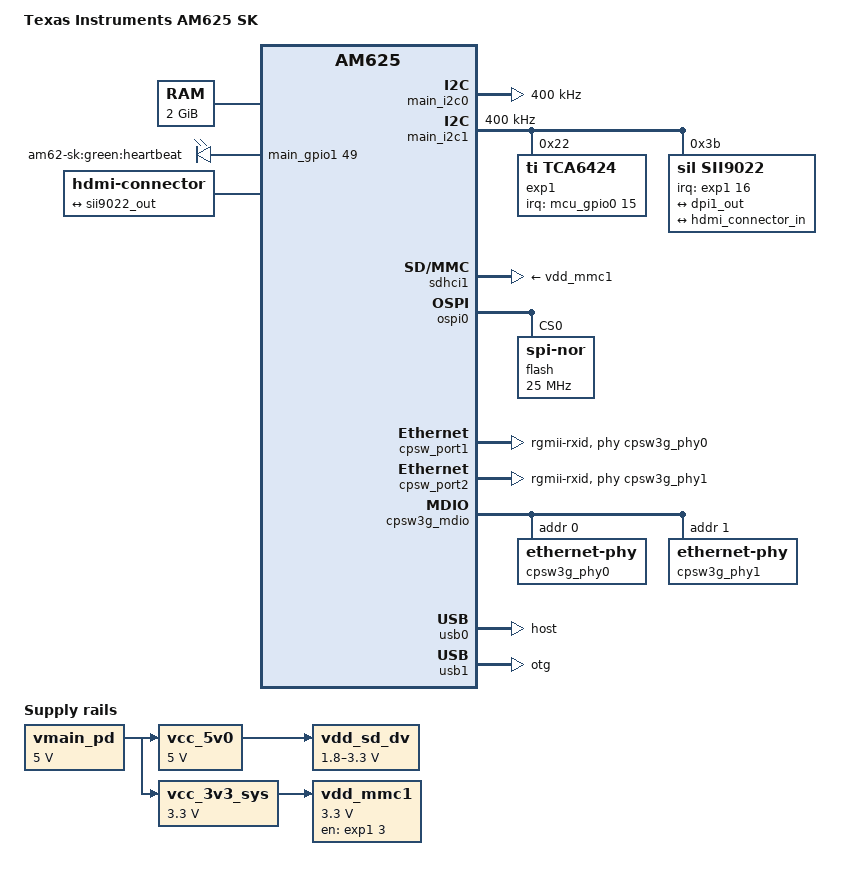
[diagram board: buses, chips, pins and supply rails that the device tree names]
// SPDX-License-Identifier: GPL-2.0
/*
 * AM625 SK dts file
 * Copyright (C) 2021-2022 Texas Instruments Incorporated - https://www.ti.com/
 */

/dts-v1/;

#include <dt-bindings/leds/common.h>
#include <dt-bindings/gpio/gpio.h>
#include <dt-bindings/net/ti-dp83867.h>
#include "k3-am625.dtsi"

/ {
	compatible =  "ti,am625-sk", "ti,am625";
	model = "Texas Instruments AM625 SK";

	chosen {
		stdout-path = "serial2:115200n8";
		bootargs = "console=ttyS2,115200n8 earlycon=ns16550a,mmio32,0x02800000";
	};

	memory@80000000 {
		device_type = "memory";
		/* 2G RAM */
		reg = <0x00000000 0x80000000 0x00000000 0x80000000>;

	};

	reserved-memory {
		#address-cells = <2>;
		#size-cells = <2>;
		ranges;

		secure_tfa_ddr: tfa@9e780000 {
			reg = <0x00 0x9e780000 0x00 0x80000>;
			alignment = <0x1000>;
			no-map;
		};

		secure_ddr: optee@9e800000 {
			reg = <0x00 0x9e800000 0x00 0x01800000>; /* for OP-TEE */
			alignment = <0x1000>;
			no-map;
		};

		main_r5fss0_core0_dma_memory_region: r5f-dma-memory@a0000000 {
			compatible = "shared-dma-pool";
			reg = <0x00 0xa0000000 0x00 0x200000>;
			no-map;
		};

		lpm_ctx_ddr: lpm-memory@a1000000 {
			reg = <0x00 0xa1000000 0x00 0x40000>;
			alignment = <0x1000>;
			no-map;
		};

		mcu_m4fss_dma_memory_region: m4f-dma-memory@a4000000 {
			compatible = "shared-dma-pool";
			reg = <0x00 0xa4000000 0x00 0x100000>;
			no-map;
		};

		mcu_m4fss_memory_region: m4f-memory@a4100000 {
			compatible = "shared-dma-pool";
			reg = <0x00 0xa4100000 0x00 0xf00000>;
			no-map;
		};
	};

	vmain_pd: fixed-regulator-vmain-pd {
		/* TPS65988 PD CONTROLLER OUTPUT */
		compatible = "regulator-fixed";
		regulator-name = "vmain_pd";
		regulator-min-microvolt = <5000000>;
		regulator-max-microvolt = <5000000>;
		regulator-always-on;
		regulator-boot-on;
	};

	vcc_5v0: fixedregulator-vcc5v0 {
		/* Output of LM34936 */
		compatible = "regulator-fixed";
		regulator-name = "vcc_5v0";
		regulator-min-microvolt = <5000000>;
		regulator-max-microvolt = <5000000>;
		vin-supply = <&vmain_pd>;
		regulator-always-on;
		regulator-boot-on;
	};


	vcc_3v3_sys: fixedregulator-vcc-3v3-sys {
		/* output of LM61460-Q1 */
		compatible = "regulator-fixed";
		regulator-name = "vcc_3v3_sys";
		regulator-min-microvolt = <3300000>;
		regulator-max-microvolt = <3300000>;
		vin-supply = <&vmain_pd>;
		regulator-always-on;
		regulator-boot-on;
	};

	vdd_mmc1: fixed-regulator-sd {
		/* TPS22918DBVR */
		compatible = "regulator-fixed";
		regulator-name = "vdd_mmc1";
		regulator-min-microvolt = <3300000>;
		regulator-max-microvolt = <3300000>;
		regulator-boot-on;
		enable-active-high;
		vin-supply = <&vcc_3v3_sys>;
		gpio = <&exp1 3 GPIO_ACTIVE_HIGH>;
	};

	vdd_sd_dv: gpio-regulator-TLV71033 {
		/* Output of TLV71033 */
		compatible = "regulator-gpio";
		regulator-name = "tlv71033";
		pinctrl-names = "default";
		pinctrl-0 = <&vdd_sd_dv_pins_default>;
		regulator-min-microvolt = <1800000>;
		regulator-max-microvolt = <3300000>;
		regulator-boot-on;
		vin-supply = <&vcc_5v0>;
		gpios = <&main_gpio0 31 GPIO_ACTIVE_HIGH>;
		states = <1800000 0x0>,
			 <3300000 0x1>;
	};

	leds {
		compatible = "gpio-leds";
		pinctrl-names = "default";
		pinctrl-0 = <&usr_led_pins_default>;

		led-0 {
			label = "am62-sk:green:heartbeat";
			gpios = <&main_gpio1 49 GPIO_ACTIVE_HIGH>;
			linux,default-trigger = "heartbeat";
			function = LED_FUNCTION_HEARTBEAT;
			default-state = "off";
		};
	};

	hdmi_mstrclk: hdmi_mstrclk {
		compatible = "fixed-clock";
		#clock-cells = <0>;
		clock-frequency = <12288000>;
	};

	hdmi: connector {
		compatible = "hdmi-connector";
		label = "hdmi";
		type = "a";
		port {
			hdmi_connector_in: endpoint {
				remote-endpoint = <&sii9022_out>;
			};
		};
	};
};

&main_pmx0 {
	main_uart0_pins_default: main-uart0-pins-default {
		pinctrl-single,pins = <
			AM62X_IOPAD(0x1d0, PIN_INPUT, 0) /* (A15) UART0_CTSn */
			AM62X_IOPAD(0x1d4, PIN_OUTPUT, 0) /* (B15) UART0_RTSn */
			AM62X_IOPAD(0x1c8, PIN_INPUT, 0) /* (D14) UART0_RXD */
			AM62X_IOPAD(0x1cc, PIN_OUTPUT, 0) /* (E14) UART0_TXD */
		>;
	};

	main_uart2_pins_default: main-uart2-pins-default {
		pinctrl-single,pins = <
			AM62X_IOPAD(0x074, PIN_INPUT, 8) /* (U25) GPMC0_AD14.UART2_CTSn */
			AM62X_IOPAD(0x078, PIN_OUTPUT, 8) /* (U24) GPMC0_AD15.UART2_RTSn */
			AM62X_IOPAD(0x05c, PIN_INPUT, 2) /* (R24) GPMC0_AD8.UART2_RXD */
			AM62X_IOPAD(0x060, PIN_OUTPUT, 2) /* (R25) GPMC0_AD9.UART2_TXD */
		>;
	};

	main_uart1_pins_default: main-uart1-pins-default {
		pinctrl-single,pins = <
			AM62X_IOPAD(0x194, PIN_INPUT, 2) /* (B19) MCASP0_AXR3.UART1_CTSn */
			AM62X_IOPAD(0x198, PIN_OUTPUT, 2) /* (A19) MCASP0_AXR2.UART1_RTSn */
			AM62X_IOPAD(0x1ac, PIN_INPUT, 2) /* (E19) MCASP0_AFSR.UART1_RXD */
			AM62X_IOPAD(0x1b0, PIN_OUTPUT, 2) /* (A20) MCASP0_ACLKR.UART1_TXD */
		>;
	};

	main_i2c0_pins_default: main-i2c0-pins-default {
		pinctrl-single,pins = <
			AM62X_IOPAD(0x1e0, PIN_INPUT_PULLUP, 0) /* (B16) I2C0_SCL */
			AM62X_IOPAD(0x1e4, PIN_INPUT_PULLUP, 0) /* (A16) I2C0_SDA */
		>;
	};

	main_i2c1_pins_default: main-i2c1-pins-default {
		pinctrl-single,pins = <
			AM62X_IOPAD(0x1e8, PIN_INPUT_PULLUP, 0) /* (B17) I2C1_SCL */
			AM62X_IOPAD(0x1ec, PIN_INPUT_PULLUP, 0) /* (A17) I2C1_SDA */
		>;
	};

	main_i2c2_pins_default: main-i2c2-pins-default {
		pinctrl-single,pins = <
			AM62X_IOPAD(0x0b0, PIN_INPUT_PULLUP, 1) /* (K22) GPMC0_CSn2.I2C2_SCL */
			AM62X_IOPAD(0x0b4, PIN_INPUT_PULLUP, 1) /* (K24) GPMC0_CSn3.I2C2_SDA */
		>;
	};

	main_mmc0_pins_default: main-mmc0-pins-default {
		pinctrl-single,pins = <
			AM62X_IOPAD(0x220, PIN_INPUT_PULLUP, 0) /* (Y3) MMC0_CMD */
			AM62X_IOPAD(0x218, PIN_INPUT_PULLDOWN, 0) /* (AB1) MMC0_CLK */
			AM62X_IOPAD(0x214, PIN_INPUT_PULLUP, 0) /* (AA2) MMC0_DAT0 */
			AM62X_IOPAD(0x210, PIN_INPUT_PULLUP, 0) /* (AA1) MMC0_DAT1 */
			AM62X_IOPAD(0x20c, PIN_INPUT_PULLUP, 0) /* (AA3) MMC0_DAT2 */
			AM62X_IOPAD(0x208, PIN_INPUT_PULLUP, 0) /* (Y4) MMC0_DAT3 */
			AM62X_IOPAD(0x204, PIN_INPUT_PULLUP, 0) /* (AB2) MMC0_DAT4 */
			AM62X_IOPAD(0x200, PIN_INPUT_PULLUP, 0) /* (AC1) MMC0_DAT5 */
			AM62X_IOPAD(0x1fc, PIN_INPUT_PULLUP, 0) /* (AD2) MMC0_DAT6 */
			AM62X_IOPAD(0x1f8, PIN_INPUT_PULLUP, 0) /* (AC2) MMC0_DAT7 */
		>;
	};

	main_mmc1_pins_default: main-mmc1-pins-default {
		pinctrl-single,pins = <
			AM62X_IOPAD(0x23c, PIN_INPUT_PULLUP, 0) /* (A21) MMC1_CMD */
			AM62X_IOPAD(0x234, PIN_INPUT_PULLDOWN, 0) /* (B22) MMC1_CLK */
			AM62X_IOPAD(0x230, PIN_INPUT_PULLUP, 0) /* (A22) MMC1_DAT0 */
			AM62X_IOPAD(0x22c, PIN_INPUT_PULLUP, 0) /* (B21) MMC1_DAT1 */
			AM62X_IOPAD(0x228, PIN_INPUT_PULLUP, 0) /* (C21) MMC1_DAT2 */
			AM62X_IOPAD(0x224, PIN_INPUT_PULLUP, 0) /* (D22) MMC1_DAT3 */
			AM62X_IOPAD(0x240, PIN_INPUT_PULLUP, 0) /* (D17) MMC1_SDCD */
		>;
	};

	main_mmc2_pins_default: main-mmc2-pins-default {
		pinctrl-single,pins = <
			AM62X_IOPAD(0x120, PIN_INPUT_PULLUP, 0) /* (C24) MMC2_CMD */
			AM62X_IOPAD(0x118, PIN_INPUT_PULLDOWN, 0) /* (D25) MMC2_CLK */
			AM62X_IOPAD(0x114, PIN_INPUT_PULLUP, 0) /* (B24) MMC2_DAT0 */
			AM62X_IOPAD(0x110, PIN_INPUT_PULLUP, 0) /* (C25) MMC2_DAT1 */
			AM62X_IOPAD(0x10c, PIN_INPUT_PULLUP, 0) /* (E23) MMC2_DAT2 */
			AM62X_IOPAD(0x108, PIN_INPUT_PULLUP, 0) /* (D24) MMC2_DAT3 */
		>;
	};


	ehrpwm_pins_default: ehrpwm-pins-default {
		pinctrl-single,pins = <
			AM62X_IOPAD(0x1a0, PIN_INPUT, 6) /* (E18) MCASP0_AXR0.EHRPWM1_B */
		>;
	};

	usr_led_pins_default: usr-led-pins-default {
		pinctrl-single,pins = <
			AM62X_IOPAD(0x244, PIN_OUTPUT, 7) /* (C17) MMC1_SDWP.GPIO1_49 */
		>;
	};

	gpio0_pins_default: gpio0-pins-default {
		pinctrl-single,pins = <
			AM62X_IOPAD(0x030, PIN_OUTPUT, 7) /* (G21) OSPI0_CSn1.GPIO0_12 */
			AM62X_IOPAD(0x034, PIN_OUTPUT, 7) /* (H21) OSPI0_CSn2.GPIO0_13 */
			AM62X_IOPAD(0x07c, PIN_OUTPUT, 7) /* (P25) GPMC0_CLK.GPIO0_31 */
			AM62X_IOPAD(0x084, PIN_OUTPUT, 7) /* (L23) GPMC0_ADVn_ALE.GPIO0_32 */
			AM62X_IOPAD(0x088, PIN_OUTPUT, 7) /* (L24) GPMC0_OEn_REn.GPIO0_33 */
			AM62X_IOPAD(0x094, PIN_OUTPUT, 7) /* (N20) GPMC0_BE1n.GPIO0_36 */
			AM62X_IOPAD(0x09c, PIN_OUTPUT, 7) /* (V25) GPMC0_WAIT1.GPIO0_38 */
			AM62X_IOPAD(0x0a0, PIN_OUTPUT, 7) /* (K25) GPMC0_WPn.GPIO0_39 */
			AM62X_IOPAD(0x0a4, PIN_OUTPUT, 7) /* (M22) GPMC0_DIR.GPIO0_40 */
			AM62X_IOPAD(0x0a8, PIN_OUTPUT, 7) /* (M21) GPMC0_CSn0.GPIO0_41 */
			AM62X_IOPAD(0x0ac, PIN_OUTPUT, 7) /* (L21) GPMC0_CSn1.GPIO0_42 */
			AM62X_IOPAD(0x124, PIN_OUTPUT, 7) /* (A23) MMC2_SDCD.GPIO0_71 */
			AM62X_IOPAD(0x128, PIN_OUTPUT, 7) /* (B23) MMC2_SDWP.GPIO0_72 */
		>;
	};

	main_usb0_pins_default: main-usb0-pins-default {
		pinctrl-single,pins = <
			AM62X_IOPAD(0x254, PIN_OUTPUT, 0) /* (C20) USB0_DRVVBUS */
		>;
	};

	main_usb1_gpio_id_pins_default: main-usb1-gpio-id-pins-default {
		pinctrl-single,pins = <
			AM62X_IOPAD(0x258, PIN_INPUT, 7) /* (F18) USB1_DRVVBUS.GPIO1_51 */
		>;
	};

	pru1_pins_default: pru1-pins-default {
		pinctrl-single,pins = <
			AM62X_IOPAD(0x03c, PIN_OUTPUT, 5) /* (M25) GPMC0_AD0.PR0_PRU0_GPI0 */
			AM62X_IOPAD(0x040, PIN_OUTPUT, 5) /* (N23) GPMC0_AD1.PR0_PRU0_GPI1 */
			AM62X_IOPAD(0x044, PIN_OUTPUT, 5) /* (N24) GPMC0_AD2.PR0_PRU0_GPI2 */
			AM62X_IOPAD(0x048, PIN_OUTPUT, 5) /* (N25) GPMC0_AD3.PR0_PRU0_GPI3 */
			AM62X_IOPAD(0x04c, PIN_OUTPUT, 5) /* (P24) GPMC0_AD4.PR0_PRU0_GPI4 */
			AM62X_IOPAD(0x050, PIN_OUTPUT, 5) /* (P22) GPMC0_AD5.PR0_PRU0_GPI5 */
			AM62X_IOPAD(0x054, PIN_OUTPUT, 5) /* (P21) GPMC0_AD6.PR0_PRU0_GPI6 */
			AM62X_IOPAD(0x058, PIN_OUTPUT, 5) /* (R23) GPMC0_AD7.PR0_PRU0_GPI7 */
		>;
	};

	main_mdio1_pins_default: main_mdio1-pins-default {
		pinctrl-single,pins = <
			AM62X_IOPAD(0x160, PIN_OUTPUT, 0) /* (AD24) MDIO0_MDC */
			AM62X_IOPAD(0x15c, PIN_INPUT, 0) /* (AB22) MDIO0_MDIO */
		>;
	};

	main_rgmii1_pins_default: main-rgmii1-pins-default {
		pinctrl-single,pins = <
			AM62X_IOPAD(0x14c, PIN_INPUT, 0) /* (AB17) RGMII1_RD0 */
			AM62X_IOPAD(0x150, PIN_INPUT, 0) /* (AC17) RGMII1_RD1 */
			AM62X_IOPAD(0x154, PIN_INPUT, 0) /* (AB16) RGMII1_RD2 */
			AM62X_IOPAD(0x158, PIN_INPUT, 0) /* (AA15) RGMII1_RD3 */
			AM62X_IOPAD(0x148, PIN_INPUT, 0) /* (AD17) RGMII1_RXC */
			AM62X_IOPAD(0x144, PIN_INPUT, 0) /* (AE17) RGMII1_RX_CTL */
			AM62X_IOPAD(0x134, PIN_OUTPUT, 0) /* (AE20) RGMII1_TD0 */
			AM62X_IOPAD(0x138, PIN_OUTPUT, 0) /* (AD20) RGMII1_TD1 */
			AM62X_IOPAD(0x13c, PIN_OUTPUT, 0) /* (AE18) RGMII1_TD2 */
			AM62X_IOPAD(0x140, PIN_OUTPUT, 0) /* (AD18) RGMII1_TD3 */
			AM62X_IOPAD(0x130, PIN_OUTPUT, 0) /* (AE19) RGMII1_TXC */
			AM62X_IOPAD(0x12c, PIN_OUTPUT, 0) /* (AD19) RGMII1_TX_CTL */
		>;
	};

	main_rgmii2_pins_default: main-rgmii2-pins-default {
		pinctrl-single,pins = <
			AM62X_IOPAD(0x184, PIN_INPUT, 0) /* (AE23) RGMII2_RD0 */
			AM62X_IOPAD(0x188, PIN_INPUT, 0) /* (AB20) RGMII2_RD1 */
			AM62X_IOPAD(0x18c, PIN_INPUT, 0) /* (AC21) RGMII2_RD2 */
			AM62X_IOPAD(0x190, PIN_INPUT, 0) /* (AE22) RGMII2_RD3 */
			AM62X_IOPAD(0x180, PIN_INPUT, 0) /* (AD23) RGMII2_RXC */
			AM62X_IOPAD(0x17c, PIN_INPUT, 0) /* (AD22) RGMII2_RX_CTL */
			AM62X_IOPAD(0x16c, PIN_OUTPUT, 0) /* (Y18) RGMII2_TD0 */
			AM62X_IOPAD(0x170, PIN_OUTPUT, 0) /* (AA18) RGMII2_TD1 */
			AM62X_IOPAD(0x174, PIN_OUTPUT, 0) /* (AD21) RGMII2_TD2 */
			AM62X_IOPAD(0x178, PIN_OUTPUT, 0) /* (AC20) RGMII2_TD3 */
			AM62X_IOPAD(0x168, PIN_OUTPUT, 0) /* (AE21) RGMII2_TXC */
			AM62X_IOPAD(0x164, PIN_OUTPUT, 0) /* (AA19) RGMII2_TX_CTL */
		>;
	};


	main_mcasp2_pins_default: main-mcasp2-pins-default {
		pinctrl-single,pins = <
			AM62X_IOPAD(0x070, PIN_OUTPUT, 3) /* (T24) GPMC0_AD13.MCASP2_ACLKX */
			AM62X_IOPAD(0x06c, PIN_OUTPUT, 3) /* (T22) GPMC0_AD12.MCASP2_AFSX */
			AM62X_IOPAD(0x064, PIN_OUTPUT, 3) /* (T25) GPMC0_AD10.MCASP2_AXR2 */
			AM62X_IOPAD(0x068, PIN_OUTPUT, 3) /* (R21) GPMC0_AD11.MCASP2_AXR3 */
		>;
	};

	main_mcasp1_hdmi_pins_default: main-mcasp1-hdmi-pins-default {
		pinctrl-single,pins = <
			AM62X_IOPAD(0x090, PIN_OUTPUT, 2) /* (M24) GPMC0_BE0n_CLE.MCASP1_ACLKX */
			AM62X_IOPAD(0x098, PIN_OUTPUT, 2) /* (U23) GPMC0_WAIT0.MCASP1_AFSX */
			AM62X_IOPAD(0x08c, PIN_OUTPUT, 2) /* (L25) GPMC0_WEn.MCASP1_AXR0 */
		>;
	};

	main_dss0_pins_default: main-dss0-pins-default {
		pinctrl-single,pins = <
			AM62X_IOPAD(0x0b8, PIN_OUTPUT, 0) /* (U22) VOUT0_DATA0 */
			AM62X_IOPAD(0x0bc, PIN_OUTPUT, 0) /* (V24) VOUT0_DATA1 */
			AM62X_IOPAD(0x0e0, PIN_OUTPUT, 0) /* (V20) VOUT0_DATA10 */
			AM62X_IOPAD(0x0e4, PIN_OUTPUT, 0) /* (AA23) VOUT0_DATA11 */
			AM62X_IOPAD(0x0e8, PIN_OUTPUT, 0) /* (AB25) VOUT0_DATA12 */
			AM62X_IOPAD(0x0ec, PIN_OUTPUT, 0) /* (AA24) VOUT0_DATA13 */
			AM62X_IOPAD(0x0f0, PIN_OUTPUT, 0) /* (Y22) VOUT0_DATA14 */
			AM62X_IOPAD(0x0f4, PIN_OUTPUT, 0) /* (AA21) VOUT0_DATA15 */
			AM62X_IOPAD(0x0c0, PIN_OUTPUT, 0) /* (W25) VOUT0_DATA2 */
			AM62X_IOPAD(0x0c4, PIN_OUTPUT, 0) /* (W24) VOUT0_DATA3 */
			AM62X_IOPAD(0x0c8, PIN_OUTPUT, 0) /* (Y25) VOUT0_DATA4 */
			AM62X_IOPAD(0x0cc, PIN_OUTPUT, 0) /* (Y24) VOUT0_DATA5 */
			AM62X_IOPAD(0x0d0, PIN_OUTPUT, 0) /* (Y23) VOUT0_DATA6 */
			AM62X_IOPAD(0x0d4, PIN_OUTPUT, 0) /* (AA25) VOUT0_DATA7 */
			AM62X_IOPAD(0x0d8, PIN_OUTPUT, 0) /* (V21) VOUT0_DATA8 */
			AM62X_IOPAD(0x0dc, PIN_OUTPUT, 0) /* (W21) VOUT0_DATA9 */
			AM62X_IOPAD(0x0fc, PIN_OUTPUT, 0) /* (Y20) VOUT0_DE */
			AM62X_IOPAD(0x0f8, PIN_OUTPUT, 0) /* (AB24) VOUT0_HSYNC */
			AM62X_IOPAD(0x104, PIN_OUTPUT, 0) /* (AC24) VOUT0_PCLK */
			AM62X_IOPAD(0x100, PIN_OUTPUT, 0) /* (AC25) VOUT0_VSYNC */
		>;
	};
	oldi0_pins_default: oldi0-pins-default {
		pinctrl-single,pins = <
			AM62X_IOPAD(0x260, PIN_OUTPUT, 0) /* (AA5) OLDI0_A0N */
			AM62X_IOPAD(0x25c, PIN_OUTPUT, 0) /* (Y6) OLDI0_A0P */
			AM62X_IOPAD(0x268, PIN_OUTPUT, 0) /* (AD3) OLDI0_A1N */
			AM62X_IOPAD(0x264, PIN_OUTPUT, 0) /* (AB4) OLDI0_A1P */
			AM62X_IOPAD(0x270, PIN_OUTPUT, 0) /* (Y8) OLDI0_A2N */
			AM62X_IOPAD(0x26c, PIN_OUTPUT, 0) /* (AA8) OLDI0_A2P */
			AM62X_IOPAD(0x278, PIN_OUTPUT, 0) /* (AB6) OLDI0_A3N */
			AM62X_IOPAD(0x274, PIN_OUTPUT, 0) /* (AA7) OLDI0_A3P */
			AM62X_IOPAD(0x280, PIN_OUTPUT, 0) /* (AC6) OLDI0_A4N */
			AM62X_IOPAD(0x27c, PIN_OUTPUT, 0) /* (AC5) OLDI0_A4P */
			AM62X_IOPAD(0x288, PIN_OUTPUT, 0) /* (AE5) OLDI0_A5N */
			AM62X_IOPAD(0x284, PIN_OUTPUT, 0) /* (AD6) OLDI0_A5P */
			AM62X_IOPAD(0x290, PIN_OUTPUT, 0) /* (AE6) OLDI0_A6N */
			AM62X_IOPAD(0x28c, PIN_OUTPUT, 0) /* (AD7) OLDI0_A6P */
			AM62X_IOPAD(0x298, PIN_OUTPUT, 0) /* (AD8) OLDI0_A7N */
			AM62X_IOPAD(0x294, PIN_OUTPUT, 0) /* (AE7) OLDI0_A7P */
			AM62X_IOPAD(0x2a0, PIN_OUTPUT, 0) /* (AD4) OLDI0_CLK0N */
			AM62X_IOPAD(0x29c, PIN_OUTPUT, 0) /* (AE3) OLDI0_CLK0P */
			AM62X_IOPAD(0x2a8, PIN_OUTPUT, 0) /* (AE4) OLDI0_CLK1N */
			AM62X_IOPAD(0x2a4, PIN_OUTPUT, 0) /* (AD5) OLDI0_CLK1P */
		>;
	};

	main_spi0_pins_default: main-spi0-pins-default {
		pinctrl-single,pins = <
			AM62X_IOPAD(0x1bc, PIN_OUTPUT, 0) /* (A14) SPI0_CLK */
			AM62X_IOPAD(0x1b4, PIN_OUTPUT, 0) /* (A13) SPI0_CS0 */
			AM62X_IOPAD(0x1b8, PIN_OUTPUT, 0) /* (C13) SPI0_CS1 */
			AM62X_IOPAD(0x1c0, PIN_INPUT, 0) /* (B13) SPI0_D0 */
			AM62X_IOPAD(0x1c4, PIN_INPUT, 0) /* (B14) SPI0_D1 */
		>;
	};

	ospi0_pins_default: ospi0-pins-default {
		pinctrl-single,pins = <
			AM62X_IOPAD(0x000, PIN_OUTPUT, 0) /* (H24) OSPI0_CLK */
			AM62X_IOPAD(0x02c, PIN_OUTPUT, 0) /* (F23) OSPI0_CSn0 */
			AM62X_IOPAD(0x038, PIN_OUTPUT, 0) /* (E24) OSPI0_CSn3 */
			AM62X_IOPAD(0x00c, PIN_INPUT, 0) /* (E25) OSPI0_D0 */
			AM62X_IOPAD(0x010, PIN_INPUT, 0) /* (G24) OSPI0_D1 */
			AM62X_IOPAD(0x014, PIN_INPUT, 0) /* (F25) OSPI0_D2 */
			AM62X_IOPAD(0x018, PIN_INPUT, 0) /* (F24) OSPI0_D3 */
			AM62X_IOPAD(0x01c, PIN_INPUT, 0) /* (J23) OSPI0_D4 */
			AM62X_IOPAD(0x020, PIN_INPUT, 0) /* (J25) OSPI0_D5 */
			AM62X_IOPAD(0x024, PIN_INPUT, 0) /* (H25) OSPI0_D6 */
			AM62X_IOPAD(0x028, PIN_INPUT, 0) /* (J22) OSPI0_D7 */
			AM62X_IOPAD(0x008, PIN_INPUT, 0) /* (J24) OSPI0_DQS */
		>;
	};

	vdd_sd_dv_pins_default: vdd-sd-dv-pins-default {
		pinctrl-single,pins = <
			AM62X_IOPAD(0x07c, PIN_OUTPUT, 7) /* (P25) GPMC0_CLK.GPIO0_31 */
		>;
	};
};

&mcu_pmx0 {
	mcu_i2c0_pins_default: mcu-i2c0-pins-default {
		pinctrl-single,pins = <
			AM62X_MCU_IOPAD(0x044, PIN_INPUT_PULLUP, 0) /* (A8) MCU_I2C0_SCL */
			AM62X_MCU_IOPAD(0x048, PIN_INPUT_PULLUP, 0) /* (D10) MCU_I2C0_SDA */
		>;
	};

	mcu_mcan0_pins_default: mcu-mcan0-pins-default {
		pinctrl-single,pins = <
			AM62X_MCU_IOPAD(0x038, PIN_INPUT, 0) /* (B3) MCU_MCAN0_RX */
			AM62X_MCU_IOPAD(0x034, PIN_OUTPUT, 0) /* (D6) MCU_MCAN0_TX */
		>;
	};

	mcu_uart0_pins_default: mcu-uart0-pins-default {
		pinctrl-single,pins = <
			AM62X_MCU_IOPAD(0x01c, PIN_INPUT, 0) /* (A6) MCU_UART0_CTSn */
			AM62X_MCU_IOPAD(0x020, PIN_OUTPUT, 0) /* (B6) MCU_UART0_RTSn */
			AM62X_MCU_IOPAD(0x014, PIN_INPUT, 0) /* (B5) MCU_UART0_RXD */
			AM62X_MCU_IOPAD(0x018, PIN_OUTPUT, 0) /* (A5) MCU_UART0_TXD */
		>;
	};

	wkup_i2c0_pins_default: wkup-i2c0-pins-default {
		pinctrl-single,pins = <
			AM62X_MCU_IOPAD(0x04c, PIN_INPUT_PULLUP, 0) /* (B9) WKUP_I2C0_SCL */
			AM62X_MCU_IOPAD(0x050, PIN_INPUT_PULLUP, 0) /* (A9) WKUP_I2C0_SDA */
		>;
	};

	wkup_uart0_pins_default: wkup-uart0-pins-default {
		pinctrl-single,pins = <
			AM62X_MCU_IOPAD(0x02c, PIN_INPUT, 0) /* (C6) WKUP_UART0_CTSn */
			AM62X_MCU_IOPAD(0x030, PIN_OUTPUT, 0) /* (A4) WKUP_UART0_RTSn */
			AM62X_MCU_IOPAD(0x024, PIN_INPUT, 0) /* (B4) WKUP_UART0_RXD */
			AM62X_MCU_IOPAD(0x028, PIN_OUTPUT, 0) /* (C5) WKUP_UART0_TXD */
		>;
	};

	mcu_gpio0_ioexp_intr_pins_default: mcu-gpio0-ioexp-intr-pins-default {
		pinctrl-single,pins = <
			AM62X_MCU_IOPAD(0x03c, PIN_INPUT, 7) /* (E5) MCU_MCAN1_TX.MCU_GPIO0_15 */
		>;
	};
};


/* wkup_uart0 is reserved for firmware usage */
&wkup_uart0 {
	pinctrl-names = "default";
        pinctrl-0 = <&wkup_uart0_pins_default>;
        /* WKUP UART0 is used by DM firmware */
	status = "reserved";
};

&main_uart0 {
	pinctrl-names = "default";
	pinctrl-0 = <&main_uart0_pins_default>;
};

&main_uart1 {
        pinctrl-names = "default";
        pinctrl-0 = <&main_uart1_pins_default>;
        /* Main UART1 is used by TIFS firmware */
	status = "reserved";
};

&main_uart2 {
	status = "disabled";
};

&main_uart3 {
	status = "disabled";
};

&main_uart4 {
	status = "disabled";
};

&main_uart5 {
	status = "disabled";
};

&main_uart6 {
	status = "disabled";
};

&wkup_i2c0 {
	pinctrl-names = "default";
	pinctrl-0 = <&wkup_i2c0_pins_default>;
	status = "disabled";
};

&mcu_i2c0 {
	pinctrl-names = "default";
	pinctrl-0 = <&mcu_i2c0_pins_default>;
	status = "disabled";
};

&main_i2c0 {
	pinctrl-names = "default";
	pinctrl-0 = <&main_i2c0_pins_default>;
	clock-frequency = <400000>;

};

&main_i2c1 {
	pinctrl-names = "default";
	pinctrl-0 = <&main_i2c1_pins_default>;
	clock-frequency = <400000>;

	exp1: gpio@22 {
		compatible = "ti,tca6424";
		reg = <0x22>;
		gpio-controller;
		#gpio-cells = <2>;
		gpio-line-names = "GPIO_CPSW2_RST", "GPIO_CPSW1_RST",
				   "PRU_DETECT", "MMC1_SD_EN",
				   "VPP_LDO_EN", "EXP_PS_3V3_En",
				   "EXP_PS_5V0_En", "EXP_HAT_DETECT",
				   "GPIO_AUD_RSTn", "GPIO_eMMC_RSTn",
				   "UART1_MUX_SEL", "WL_LT_EN",
				   "GPIO_HDMI_RSTn", "CSI_GPIO1",
				   "CSI_GPIO2", "PRU_3V3_EN",
				   "HDMI_INTn", "TEST_GPIO2",
				   "AUD_BUF_EN", "WL_BUF_EN",
				   "WL_BUF_EN", "AUD_BUF_CLK_DIR",
				   "WL_BUF_CLK_DIR", "VLED_ENB",
				   "IO_EXP_TEST_LED";

		interrupt-parent = <&mcu_gpio0>;
		interrupts = <15 IRQ_TYPE_EDGE_FALLING>;
		interrupt-controller;
		#interrupt-cells = <2>;

		pinctrl-names = "default";
		pinctrl-0 = <&mcu_gpio0_ioexp_intr_pins_default>;
	};

	sii9022: sii9022@3b {
		 compatible = "sil,sii9022";
		 reg = <0x3b>;

		 clocks = <&hdmi_mstrclk>;
		 clock-names = "mclk";

		 interrupt-parent = <&exp1>;
		 interrupts = <16 IRQ_TYPE_LEVEL_LOW>;

		ports {
			#address-cells = <1>;
			#size-cells = <0>;

			port@0 {
				reg = <0>;

				sii9022_in: endpoint {
					remote-endpoint = <&dpi1_out>;
				};
			};

			port@1 {
				reg = <1>;

				sii9022_out: endpoint {
					remote-endpoint = <&hdmi_connector_in>;
				};
			};
		};
	};
};

&main_i2c2 {
	status = "disabled";
};

&sdhci0 {
	pinctrl-names = "default";
	pinctrl-0 = <&main_mmc0_pins_default>;
	ti,driver-strength-ohm = <50>;
	disable-wp;
};

&sdhci1 {
	/* SD/MMC */
	vmmc-supply = <&vdd_mmc1>;
	vqmmc-supply = <&vdd_sd_dv>;
	pinctrl-names = "default";
	pinctrl-0 = <&main_mmc1_pins_default>;
	ti,driver-strength-ohm = <50>;
	disable-wp;
	no-1-8-v;
};

&sdhci2 {
	pinctrl-names = "default";
	pinctrl-0 = <&main_mmc2_pins_default>;
	status = "disabled";
};

&ospi0 {
	pinctrl-names = "default";
	pinctrl-0 = <&ospi0_pins_default>;

	flash@0{
		compatible = "jedec,spi-nor";
		reg = <0x0>;
		spi-tx-bus-width = <8>;
		spi-rx-bus-width = <8>;
		spi-max-frequency = <25000000>;
		cdns,tshsl-ns = <60>;
		cdns,tsd2d-ns = <60>;
		cdns,tchsh-ns = <60>;
		cdns,tslch-ns = <60>;
		cdns,read-delay = <4>;
		cdns,read-delay-dtr = <10>;
		#address-cells = <1>;
		#size-cells = <1>;
	};
};

&cpsw3g {
	pinctrl-names = "default";
	pinctrl-0 = <&main_mdio1_pins_default
		     &main_rgmii1_pins_default
		     &main_rgmii2_pins_default>;
};

&cpsw_port1 {
	phy-mode = "rgmii-rxid";
	phy-handle = <&cpsw3g_phy0>;
};

&cpsw_port2 {
	phy-mode = "rgmii-rxid";
	phy-handle = <&cpsw3g_phy1>;
};

&cpsw3g_mdio {
	cpsw3g_phy0: ethernet-phy@0 {
		reg = <0>;
		ti,rx-internal-delay = <DP83867_RGMIIDCTL_2_00_NS>;
		ti,fifo-depth = <DP83867_PHYCR_FIFO_DEPTH_4_B_NIB>;
		ti,min-output-impedance;
	};

	cpsw3g_phy1: ethernet-phy@1 {
		reg = <1>;
		ti,rx-internal-delay = <DP83867_RGMIIDCTL_2_00_NS>;
		ti,fifo-depth = <DP83867_PHYCR_FIFO_DEPTH_4_B_NIB>;
		ti,min-output-impedance;
	};
};

&usb0 {
	dr_mode = "host";
	pinctrl-names = "default";
	pinctrl-0 = <&main_usb0_pins_default>;
};

&usbss1 {
	id-gpio = <&main_gpio1 51 GPIO_ACTIVE_LOW>;
	pinctrl-names = "default";
	pinctrl-0 = <&main_usb1_gpio_id_pins_default>;
	ti,vbus-divider;
};

&usb1 {
	dr_mode = "otg";
	/* To indicate the connector can be used
	 * for both host as well as gadget mode
	 */
	usb-role-switch;
};

&dss {
	pinctrl-names = "default";
	pinctrl-0 = <&main_dss0_pins_default>;
};

&dss_ports {
	#address-cells = <1>;
	#size-cells = <0>;

	/* VP2: DPI/HDMI Output */
	port@1 {
		reg = <1>;

		dpi1_out: endpoint {
			remote-endpoint = <&sii9022_in>;
		};
	};
};

&mailbox0_cluster0 {
	mbox_m4_0: mbox-m4-0 {
		ti,mbox-rx = <0 0 0>;
		ti,mbox-tx = <1 0 0>;
	};
};

&mcu_m4fss {
	mboxes = <&mailbox0_cluster0 &mbox_m4_0>;
	memory-region = <&mcu_m4fss_dma_memory_region>,
			<&mcu_m4fss_memory_region>;
};
